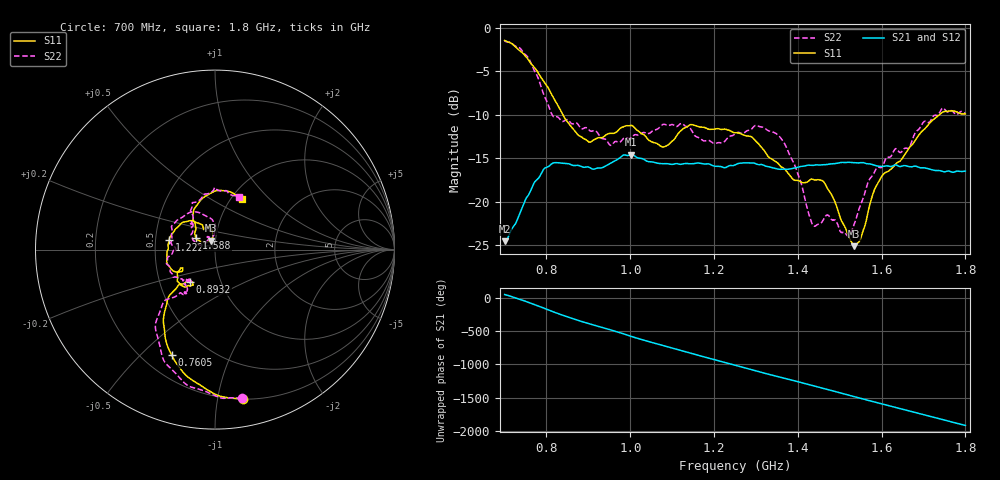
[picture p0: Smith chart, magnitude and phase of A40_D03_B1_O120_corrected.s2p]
! Created with skrf 1.9.0 (http://scikit-rf.org).
# Hz S RI R 50.0
!freq ReS11 ImS11 ReS21 ImS21 ReS12 ImS12 ReS22 ImS22
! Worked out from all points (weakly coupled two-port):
!   1601 points, 700 MHz to 1.8 GHz, reference 50 ohm
!   highest |S21| = -14.59 dB at 1.002 GHz (marker M1); lowest = -24.6 dB at 701.4 MHz (marker M2)
!   lowest |S11| = -25.1 dB at 1.535 GHz (marker M3), VSWR 1.12, Z = 47.5 + j4.79 ohm
!   |S11| at or under -10 dB: 838.9 MHz to 1.737 GHz (898.5 MHz wide, 69.8 % of centre)
!   |S22| runs from -24.0 to -1.5 dB; largest |S21 - S12| = 0.0036
!   S11 on the Smith chart (normalised r, x): 700 MHz: 0.20, -1.19; 760.5 MHz: 0.32, -0.62; 893.2 MHz: 0.71, -0.27; 1.222 GHz: 0.59, +0.07; 1.588 GHz: 0.80, +0.10; 1.8 GHz: 1.13, +0.70
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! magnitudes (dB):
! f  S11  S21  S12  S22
! 700 MHz  -1.4  -24.6  -24.3  -1.5
! 701.4 MHz  -1.5  -24.6  -24.2  -1.5
! 760.5 MHz  -3.9  -18.9  -18.8  -3.8
! 814.8 MHz  -7.9  -15.6  -15.6  -10.1
! 883.6 MHz  -12.6  -16.0  -15.9  -11.6
! 893.2 MHz  -12.8  -16.0  -16.1  -11.5
! 953 MHz  -12.1  -15.6  -15.6  -13.5
! 1.002 GHz  -11.2  -14.6  -14.7  -12.6
! 1.067 GHz  -13.4  -15.6  -15.5  -11.6
! 1.144 GHz  -11.1  -15.7  -15.6  -11.6
! 1.222 GHz  -11.7  -16.1  -16.1  -13.2
! 1.25 GHz  -12.1  -15.8  -15.7  -12.2
! 1.357 GHz  -15.8  -16.3  -16.2  -12.5
! 1.395 GHz  -17.6  -16.1  -16.1  -16.1
! 1.434 GHz  -17.4  -15.8  -15.8  -22.5
! 1.464 GHz  -17.9  -15.7  -15.7  -21.8
! 1.519 GHz  -23.7  -15.5  -15.5  -24.0
! 1.535 GHz  -25.1  -15.5  -15.5  -22.6
! 1.588 GHz  -18.2  -15.9  -15.9  -16.2
! 1.617 GHz  -16.5  -15.9  -15.9  -14.9
! 1.741 GHz  -9.9  -16.5  -16.4  -9.5
! 1.8 GHz  -9.9  -16.5  -16.5  -9.8
